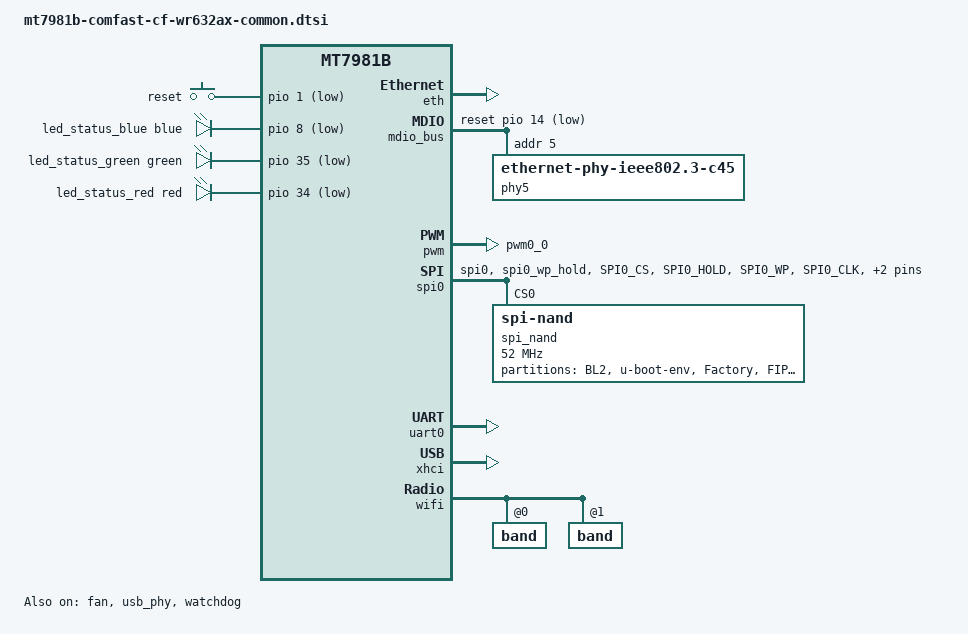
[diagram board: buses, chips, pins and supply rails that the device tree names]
// SPDX-License-Identifier: GPL-2.0-or-later OR MIT

/dts-v1/;

#include "mt7981b.dtsi"

/ {
	aliases {
		label-mac-device = &gmac0;
		led-boot = &led_status_red;
		led-failsafe = &led_status_red;
		led-running = &led_status_blue;
		led-upgrade = &led_status_green;
		serial0 = &uart0;
	};

	chosen: chosen {
		stdout-path = "serial0:115200n8";
	};

	gpio-keys {
		compatible = "gpio-keys";

		reset {
			label = "reset";
			linux,code = <KEY_RESTART>;
			gpios = <&pio 1 GPIO_ACTIVE_LOW>;
		};
	};

	leds {
		compatible = "gpio-leds";

		led_status_blue: blue {
			color = <LED_COLOR_ID_BLUE>;
			function = LED_FUNCTION_STATUS;
			gpios = <&pio 8 GPIO_ACTIVE_LOW>;
		};

		led_status_green: green {
			color = <LED_COLOR_ID_GREEN>;
			function = LED_FUNCTION_STATUS;
			gpios = <&pio 35 GPIO_ACTIVE_LOW>;
		};

		led_status_red: red {
			color = <LED_COLOR_ID_RED>;
			function = LED_FUNCTION_STATUS;
			gpios = <&pio 34 GPIO_ACTIVE_LOW>;
		};
	};
};

&eth {
	pinctrl-names = "default";
	pinctrl-0 = <&mdio_pins>;
	status = "okay";

	gmac0: mac@0 {
		compatible = "mediatek,eth-mac";
		reg = <0>;
		label = "wan";
		phy-mode = "2500base-x";
		phy-handle = <&phy5>;

		nvmem-cell-names = "mac-address";
		nvmem-cells = <&macaddr_factory_e000 0>;
	};

	gmac1: mac@1 {
		compatible = "mediatek,eth-mac";
		reg = <1>;
		label = "lan";
		phy-mode = "gmii";
		phy-handle = <&int_gbe_phy>;

		nvmem-cell-names = "mac-address";
		nvmem-cells = <&macaddr_factory_e000 1>;
	};
};

&fan {
	pwms = <&pwm 0 10000>;
	status = "okay";
};

&mdio_bus {
	reset-gpios = <&pio 14 GPIO_ACTIVE_LOW>;
	reset-delay-us = <600>;
	reset-post-delay-us = <20000>;

	phy5: phy@5 {
		compatible = "ethernet-phy-ieee802.3-c45";
		reg = <5>;
	};
};

&pio {
	spi0_flash_pins: spi0-pins {
		mux {
			function = "spi";
			groups = "spi0", "spi0_wp_hold";
		};

		conf-pu {
			pins = "SPI0_CS", "SPI0_HOLD", "SPI0_WP";
			drive-strength = <MTK_DRIVE_4mA>;
			bias-pull-up = <MTK_PUPD_SET_R1R0_11>;
		};

		conf-pd {
			pins = "SPI0_CLK", "SPI0_MOSI", "SPI0_MISO";
			drive-strength = <MTK_DRIVE_4mA>;
			bias-pull-down = <MTK_PUPD_SET_R1R0_11>;
		};
	};

	pwm0_pin: pwm0-pin-g0 {
		mux {
		function = "pwm";
		groups = "pwm0_0";
		};
	};
};

&pwm {
	pinctrl-names = "default";
	pinctrl-0 = <&pwm0_pin>;
	status = "okay";
};

&spi0 {
	pinctrl-names = "default";
	pinctrl-0 = <&spi0_flash_pins>;
	status = "okay";

	spi_nand: spi-nand@0 {
		compatible = "spi-nand";
		reg = <0>;
		spi-max-frequency = <52000000>;

		spi-cal-enable;
		spi-cal-mode = "read-data";
		spi-cal-datalen = <7>;
		spi-cal-data = /bits/ 8 <0x53 0x50 0x49 0x4E 0x41 0x4E 0x44>;
		spi-cal-addrlen = <5>;
		spi-cal-addr = /bits/ 32 <0x0 0x0 0x0 0x0 0x0>;

		spi-tx-bus-width = <4>;
		spi-rx-bus-width = <4>;

		partitions {
			compatible = "fixed-partitions";
			#address-cells = <1>;
			#size-cells = <1>;

			partition@0 {
				label = "BL2";
				reg = <0x00000 0x0100000>;
				read-only;
			};

			partition@100000 {
				label = "u-boot-env";
				reg = <0x0100000 0x0080000>;
				read-only;
			};

			factory: partition@180000 {
				label = "Factory";
				reg = <0x180000 0x0200000>;
				read-only;

				nvmem-layout {
					compatible = "fixed-layout";
					#address-cells = <1>;
					#size-cells = <1>;

					eeprom_factory_0: eeprom@0 {
						reg = <0x0 0x1000>;
					};

					macaddr_factory_e000: macaddr@e000 {
						compatible = "mac-base";
						reg = <0xe000 0x6>;
						#nvmem-cell-cells = <1>;
					};

					macaddr_factory_4: macaddr@4 {
						compatible = "mac-base";
						reg = <0x4 0x6>;
						#nvmem-cell-cells = <1>;
					};

					macaddr_factory_8000: macaddr@8000 {
						compatible = "mac-base";
						reg = <0x8000 0x6>;
						#nvmem-cell-cells = <1>;
					};
				};
			};

			partition@380000 {
				label = "FIP";
				reg = <0x380000 0x0200000>;
				read-only;
			};

			ubi: partition@580000 {
				label = "ubi";
				compatible = "linux,ubi";
			};
		};
	};
};

&uart0 {
	status = "okay";
};

&usb_phy {
	status = "okay";
};

&watchdog {
	status = "okay";
};

&xhci {
	status = "okay";
};

&wifi {
	#address-cells = <1>;
	#size-cells = <0>;
	nvmem-cells = <&eeprom_factory_0>;
	nvmem-cell-names = "eeprom";
	status = "okay";

	band@0 {
		reg = <0>;
		nvmem-cells = <&macaddr_factory_4 0>;
		nvmem-cell-names = "mac-address";
	};

	band@1 {
		reg = <1>;
		nvmem-cells = <&macaddr_factory_8000 0>;
		nvmem-cell-names = "mac-address";
	};
};
